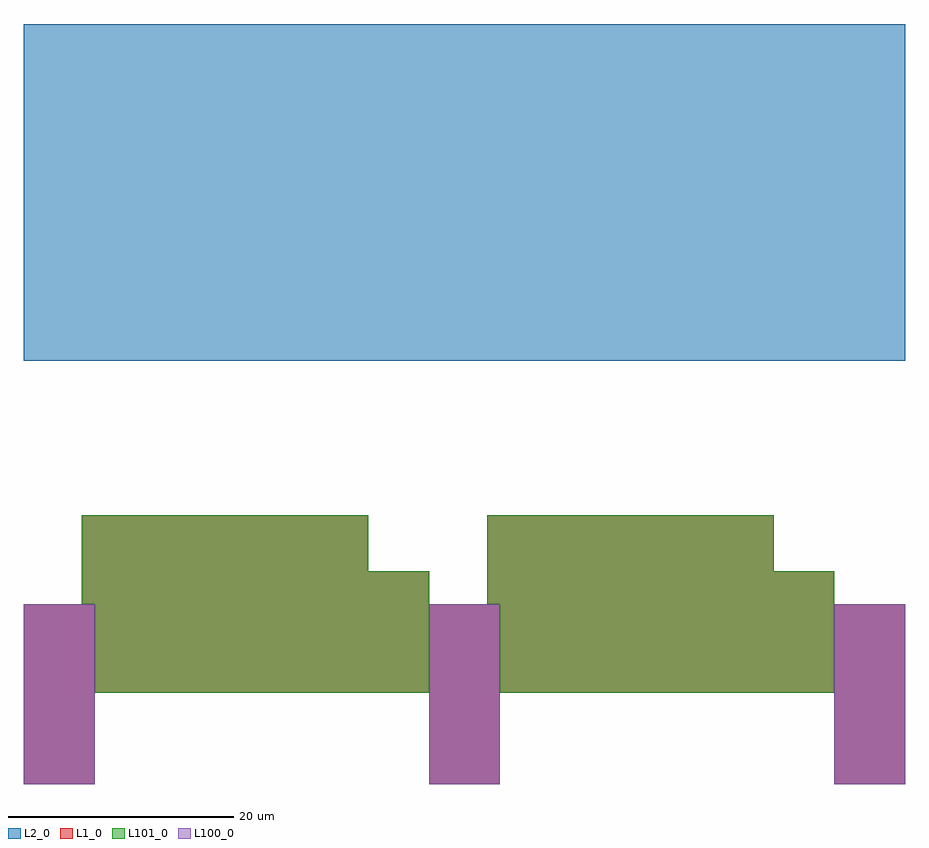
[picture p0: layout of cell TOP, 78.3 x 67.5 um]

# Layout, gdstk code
import gdstk
lib = gdstk.Library(unit=1e-6, precision=1e-09)
def R(c, l, rs):  # rectangles x0, y0, x1, y1
    for r in rs: c.add(gdstk.rectangle(r[:2], r[2:], *l))
def P(c, l, *ps):  # polygons
    for p in ps: c.add(gdstk.Polygon(p, *l))
L1_0 = (1, 0)
L2_0 = (2, 0)
L100_0 = (100, 0)
L101_0 = (101, 0)

c_a = lib.new_cell('A')
R(c_a, L1_0, [(2.025,18.675,4.725,26.55)])
P(c_a, L1_0, [(-3.15,2.7),(-3.15,18.675),(4.725,18.675),(4.725,26.55),(27.45,26.55),(27.45,21.6),(32.85,21.6),(32.85,18.675),(39.15,18.675),(39.15,2.7),(32.85,2.7),(32.85,10.8),(3.15,10.8),(3.15,2.7)])
R(c_a, L2_0, [(-3.15,2.7,3.15,18.675), (32.85,2.7,39.15,18.675), (-3.15,40.275,39.15,70.2)])
R(c_a, L100_0, [(-3.15,2.7,3.15,18.675), (32.85,2.7,39.15,18.675)])
P(c_a, L101_0, [(3.15,10.8),(3.15,18.675),(2.025,18.675),(2.025,26.55),(27.45,26.55),(27.45,21.6),(32.85,21.6),(32.85,10.8)])

top = lib.new_cell('TOP')
top.add(gdstk.Reference(c_a, (3.15,-2.7)))
top.add(gdstk.Reference(c_a, (39.15,-2.7)))

lib.write_gds('TOP.gds')
